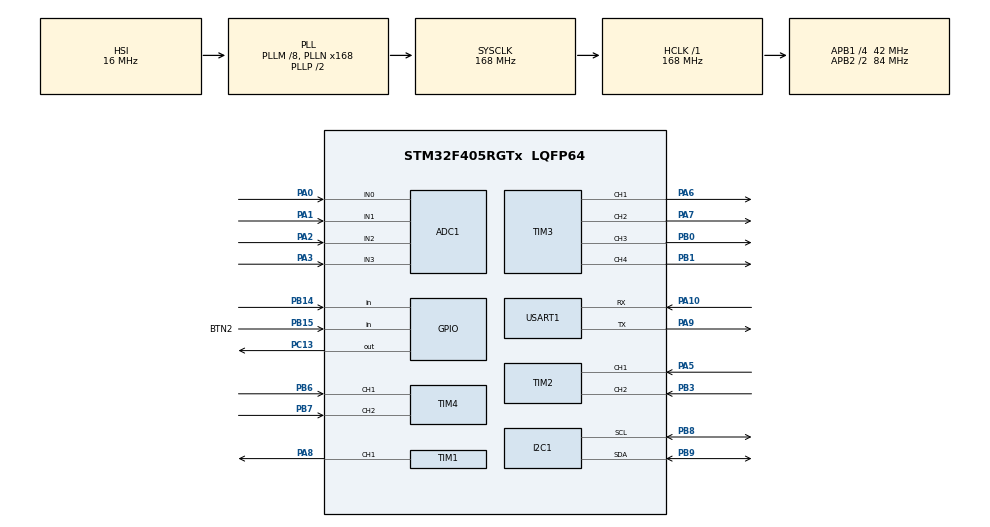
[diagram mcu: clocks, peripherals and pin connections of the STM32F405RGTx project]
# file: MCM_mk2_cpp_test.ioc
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ADC1.Channel-0\#ChannelRegularConversion=ADC_CHANNEL_0
ADC1.NbrOfConversionFlag=1
ADC1.Rank-0\#ChannelRegularConversion=1
ADC1.SamplingTime-0\#ChannelRegularConversion=ADC_SAMPLETIME_3CYCLES
ADC1.master=1
Dma.ADC1.0.Direction=DMA_PERIPH_TO_MEMORY
Dma.ADC1.0.FIFOMode=DMA_FIFOMODE_DISABLE
Dma.ADC1.0.Instance=DMA2_Stream0
Dma.ADC1.0.MemDataAlignment=DMA_MDATAALIGN_HALFWORD
Dma.ADC1.0.MemInc=DMA_MINC_ENABLE
Dma.ADC1.0.Mode=DMA_NORMAL
Dma.ADC1.0.PeriphDataAlignment=DMA_PDATAALIGN_HALFWORD
Dma.ADC1.0.PeriphInc=DMA_PINC_DISABLE
Dma.ADC1.0.Priority=DMA_PRIORITY_LOW
Dma.Request0=ADC1
Mcu.Family=STM32F4
Mcu.Name=STM32F405RGTx
Mcu.Package=LQFP64
NVIC.DMA2_Stream0_IRQn=true\:0\:0\:false\:false\:true\:false\:true\:true
NVIC.PriorityGroup=NVIC_PRIORITYGROUP_4
PA0-WKUP.Signal=ADCx_IN0
PA1.Signal=ADCx_IN1
PA10.Mode=Asynchronous
PA10.Signal=USART1_RX
PA13.Mode=Serial_Wire
PA13.Signal=SYS_JTMS-SWDIO
PA14.Mode=Serial_Wire
PA14.Signal=SYS_JTCK-SWCLK
PA2.Signal=ADCx_IN2
PA3.Signal=ADCx_IN3
PA5.Signal=S_TIM2_CH1_ETR
PA6.Signal=S_TIM3_CH1
PA7.Signal=S_TIM3_CH2
PA8.Signal=S_TIM1_CH1
PA9.Mode=Asynchronous
PA9.Signal=USART1_TX
PB0.Signal=S_TIM3_CH3
PB1.Signal=S_TIM3_CH4
PB14.Signal=GPIO_Input
PB15.GPIO_Label=BTN2
PB15.GPIO_PuPd=GPIO_PULLUP
PB15.Signal=GPIO_Input
PB3.Signal=S_TIM2_CH2
PB6.Signal=S_TIM4_CH1
PB7.Signal=S_TIM4_CH2
PB8.Mode=I2C
PB8.Signal=I2C1_SCL
PB9.Mode=I2C
PB9.Signal=I2C1_SDA
PC13-ANTI_TAMP.Signal=GPIO_Output
PH0-OSC_IN.Mode=HSE-External-Oscillator
PH0-OSC_IN.Signal=RCC_OSC_IN
PH1-OSC_OUT.Mode=HSE-External-Oscillator
PH1-OSC_OUT.Signal=RCC_OSC_OUT
ProjectManager.HeapSize=0x200
ProjectManager.StackSize=0x400
ProjectManager.TargetToolchain=STM32CubeIDE
RCC.48MHZClocksFreq_Value=84000000
RCC.AHBFreq_Value=168000000
RCC.APB1CLKDivider=RCC_HCLK_DIV4
RCC.APB1Freq_Value=42000000
RCC.APB1TimFreq_Value=84000000
RCC.APB2CLKDivider=RCC_HCLK_DIV2
RCC.APB2Freq_Value=84000000
RCC.APB2TimFreq_Value=168000000
RCC.CortexFreq_Value=168000000
RCC.HCLKFreq_Value=168000000
RCC.HSE_VALUE=25000000
RCC.HSI_VALUE=16000000
RCC.LSE_VALUE=32768
RCC.PLLM=8
RCC.PLLN=168
RCC.SYSCLKFreq_VALUE=168000000
RCC.SYSCLKSource=RCC_SYSCLKSOURCE_PLLCLK
RCC.VCOOutputFreq_Value=336000000
SH.ADCx_IN0.0=ADC1_IN0,IN0
SH.ADCx_IN1.0=ADC1_IN1,IN1
SH.ADCx_IN2.0=ADC1_IN2,IN2
SH.ADCx_IN3.0=ADC1_IN3,IN3
SH.S_TIM1_CH1.0=TIM1_CH1,PWM Generation1 CH1
SH.S_TIM2_CH1_ETR.0=TIM2_CH1,Encoder_Interface
SH.S_TIM2_CH2.0=TIM2_CH2,Encoder_Interface
SH.S_TIM3_CH1.0=TIM3_CH1,PWM Generation1 CH1
SH.S_TIM3_CH2.0=TIM3_CH2,PWM Generation2 CH2
SH.S_TIM3_CH3.0=TIM3_CH3,PWM Generation3 CH3
SH.S_TIM3_CH4.0=TIM3_CH4,PWM Generation4 CH4
SH.S_TIM4_CH1.0=TIM4_CH1,Encoder_Interface
SH.S_TIM4_CH2.0=TIM4_CH2,Encoder_Interface
TIM1.Channel-PWM\ Generation1\ CH1=TIM_CHANNEL_1
TIM1.Period=256-1
TIM1.Prescaler=169-1
TIM3.Channel-PWM\ Generation1\ CH1=TIM_CHANNEL_1
TIM3.Channel-PWM\ Generation2\ CH2=TIM_CHANNEL_2
TIM3.Channel-PWM\ Generation3\ CH3=TIM_CHANNEL_3
TIM3.Channel-PWM\ Generation4\ CH4=TIM_CHANNEL_4
USART1.VirtualMode=VM_ASYNC
board=custom

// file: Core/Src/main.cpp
/* USER CODE BEGIN Header */
/**
 ******************************************************************************
 * @file           : main.c
 * @brief          : Main program body
 ******************************************************************************
 * @attention
 *
 * Copyright (c) 2025 STMicroelectronics.
 * All rights reserved.
 *
 * This software is licensed under terms that can be found in the LICENSE file
 * in the root directory of this software component.
 * If no LICENSE file comes with this software, it is provided AS-IS.
 *
 ******************************************************************************
 */
/* USER CODE END Header */

/* USER CODE BEGIN Includes */
extern "C" {
    #include "main.h"
    #include "stm32f4xx_hal.h"
    #include "MPU9250-DMP.h"
}
#include "MOTORDRiVE.h"
#include <cstring>
#include <cstdio>
//#include "math.h"

/* USER CODE END Includes */

/* USER CODE BEGIN PD */
extern TIM_HandleTypeDef htim1;
extern TIM_HandleTypeDef htim2;
extern TIM_HandleTypeDef htim3;
extern TIM_HandleTypeDef htim4;

/* USER CODE END PD */

ADC_HandleTypeDef hadc1;
DMA_HandleTypeDef hdma_adc1;

I2C_HandleTypeDef hi2c1;

TIM_HandleTypeDef htim1;
TIM_HandleTypeDef htim2;
TIM_HandleTypeDef htim3;
TIM_HandleTypeDef htim4;

UART_HandleTypeDef huart1;

/* USER CODE BEGIN PV */
IRSensors IR1(&hadc1,ADC_CHANNEL_1);
IRSensors IR2(&hadc1,ADC_CHANNEL_2 );
IRSensors IR3(&hadc1,ADC_CHANNEL_3);
IRSensors IR4(&hadc1,ADC_CHANNEL_4);

uint32_t dutyCycle = 0;

enum BotState {
    FOLLOW_WALL,
    TURN_LEFT,
    FOLLOW_WALL_AGAIN,
    TURN_RIGHT,
    FINISHED
};

/* USER CODE END PV */

void SystemClock_Config(void);
static void MX_GPIO_Init(void);
static void MX_DMA_Init(void);
static void MX_TIM1_Init(void);
static void MX_I2C1_Init(void);
static void MX_TIM3_Init(void);
static void MX_ADC1_Init(void);
static void MX_TIM2_Init(void);
static void MX_TIM4_Init(void);
static void MX_USART1_UART_Init(void);

/* USER CODE BEGIN 0 */

float roll;
float pitch;
float yaw;

/* USER CODE END 0 */

int main(void)
{

  /* MCU Configuration--------------------------------------------------------*/

  /* Reset of all peripherals, Initializes the Flash interface and the Systick. */
  HAL_Init();

  /* Configure the system clock */
  SystemClock_Config();

  /* Initialize all configured peripherals */
  MX_GPIO_Init();
  MX_DMA_Init();
  MX_TIM1_Init();
  MX_I2C1_Init();
  MX_TIM3_Init();
  MX_ADC1_Init();
  MX_TIM2_Init();
  MX_TIM4_Init();
  MX_USART1_UART_Init();

  // Init motors
      MOTOR leftMotor( &htim3, &htim3, CH1, CH2);
      MOTOR rightMotor( &htim3, &htim3, CH3, CH4);
      leftMotor.Innit();
      rightMotor.Innit();

      // PID controllers
          PIDController leftPID(1.0f, 0.5f, 0.1f, 0.01f, 0.02f);
          PIDController rightPID(1.0f, 0.5f, 0.1f, 0.01f, 0.02f);

          // Movements
          Movements movement(&leftMotor, &rightMotor);

          // Encoder
          Encoder encoder(
              &htim2, TIM_CHANNEL_1, // Left A
              &htim2, TIM_CHANNEL_2, // Left B
              &htim4, TIM_CHANNEL_1, // Right A
              &htim4, TIM_CHANNEL_2  // Right B
          );
          encoder.Innit();
          encoder.setPulse(500); // Set pulse-per-rev

          BotState state = FOLLOW_WALL;
  /* USER CODE BEGIN 2 */

	MX_I2C1_Init();
	MPU9250_DMP(); // Initialize scale constants
	  if (MPU9250_begin() != INV_SUCCESS)
	     {
	         printf("MPU init failed!\n");
	         while (1);
	     }

	     // Set orientation matrix for DMP (identity matrix here, customize if needed)
	     const signed char orientationMatrix[9] = {
	         1, 0, 0,
	         0, 1, 0,
	         0, 0, 1
	     };
	     MPU9250_dmpSetOrientation(orientationMatrix);

	     // Enable DMP features
	     MPU9250_dmpBegin(DMP_FEATURE_6X_LP_QUAT | DMP_FEATURE_GYRO_CAL, 10); // 10 Hz update

  /* USER CODE END 2 */

  /* Infinite loop */
	while (1) {

    /* USER CODE BEGIN 3 */

		if (MPU9250_dmpUpdateFifo() == INV_SUCCESS)
			          {
			              MPU9250_computeEulerAngles(true); // Calculate angles in degrees

			              roll = roll_inside;
			              pitch = pitch_inside;
			              yaw = yaw_inside;
			          }
		HAL_Delay(100); // 10 Hz
		uint8_t ir_val = All_IR_Val(&IR1, &IR2, &IR3, &IR4);
		int32_t leftSpeed = encoder.readLeftEncoderSpeed();
		int32_t rightSpeed = encoder.readRightEncoderSpeed();

		        switch (state)
		        {
		            case FOLLOW_WALL:
		                if (ir_val == 0b1111) {
		                    movement.stop();
		                    HAL_Delay(500);
		                    state = TURN_LEFT;
		                } else {
		                    MCM_Wall_Following_In_A_StraightLine(ir_val, &movement, &leftPID, &rightPID, 300, leftSpeed, rightSpeed);
		                }
		                break;

		            case TURN_LEFT:
		                if (movement.rotateLeft90Deg(&leftPID, &rightPID, 300, leftSpeed, rightSpeed)) {
		                    state = FOLLOW_WALL_AGAIN;
		                }
		                break;

		            case FOLLOW_WALL_AGAIN:
		                if (ir_val == 0b1111) {
		                    movement.stop();
		                    HAL_Delay(500);
		                    state = TURN_RIGHT;
		                } else {
		                    MCM_Wall_Following_In_A_StraightLine(ir_val, &movement, &leftPID, &rightPID, 300, leftSpeed, rightSpeed);
		                }
		                break;

		            case TURN_RIGHT:
		                if (movement.rotateRight90Deg(&leftPID, &rightPID, 300, leftSpeed, rightSpeed)) {
		                    state = FINISHED;
		                }
		                break;

		            case FINISHED:
		                movement.stop();
		                while (1); // stay stopped
		        }

		        HAL_Delay(10);
		        send_data_uart(leftSpeed, rightSpeed, ir_val,yaw);
	}
}
  /* USER CODE END 3 */

void SystemClock_Config(void)
{
  RCC_OscInitTypeDef RCC_OscInitStruct = {0};
  RCC_ClkInitTypeDef RCC_ClkInitStruct = {0};

  /** Configure the main internal regulator output voltage
  */
  __HAL_RCC_PWR_CLK_ENABLE();
  __HAL_PWR_VOLTAGESCALING_CONFIG(PWR_REGULATOR_VOLTAGE_SCALE1);

  /** Initializes the RCC Oscillators according to the specified parameters
  * in the RCC_OscInitTypeDef structure.
  */
  RCC_OscInitStruct.OscillatorType = RCC_OSCILLATORTYPE_HSI;
  RCC_OscInitStruct.HSIState = RCC_HSI_ON;
  RCC_OscInitStruct.HSICalibrationValue = RCC_HSICALIBRATION_DEFAULT;
  RCC_OscInitStruct.PLL.PLLState = RCC_PLL_ON;
  RCC_OscInitStruct.PLL.PLLSource = RCC_PLLSOURCE_HSI;
  RCC_OscInitStruct.PLL.PLLM = 8;
  RCC_OscInitStruct.PLL.PLLN = 168;
  RCC_OscInitStruct.PLL.PLLP = RCC_PLLP_DIV2;
  RCC_OscInitStruct.PLL.PLLQ = 4;
  if (HAL_RCC_OscConfig(&RCC_OscInitStruct) != HAL_OK)
  {
    Error_Handler();
  }

  /** Initializes the CPU, AHB and APB buses clocks
  */
  RCC_ClkInitStruct.ClockType = RCC_CLOCKTYPE_HCLK|RCC_CLOCKTYPE_SYSCLK
                              |RCC_CLOCKTYPE_PCLK1|RCC_CLOCKTYPE_PCLK2;
  RCC_ClkInitStruct.SYSCLKSource = RCC_SYSCLKSOURCE_PLLCLK;
  RCC_ClkInitStruct.AHBCLKDivider = RCC_SYSCLK_DIV1;
  RCC_ClkInitStruct.APB1CLKDivider = RCC_HCLK_DIV4;
  RCC_ClkInitStruct.APB2CLKDivider = RCC_HCLK_DIV2;

  if (HAL_RCC_ClockConfig(&RCC_ClkInitStruct, FLASH_LATENCY_5) != HAL_OK)
  {
    Error_Handler();
  }
}

static void MX_ADC1_Init(void)
{

  ADC_ChannelConfTypeDef sConfig = {0};

  /** Configure the global features of the ADC (Clock, Resolution, Data Alignment and number of conversion)
  */
  hadc1.Instance = ADC1;
  hadc1.Init.ClockPrescaler = ADC_CLOCK_SYNC_PCLK_DIV4;
  hadc1.Init.Resolution = ADC_RESOLUTION_12B;
  hadc1.Init.ScanConvMode = DISABLE;
  hadc1.Init.ContinuousConvMode = DISABLE;
  hadc1.Init.DiscontinuousConvMode = DISABLE;
  hadc1.Init.ExternalTrigConvEdge = ADC_EXTERNALTRIGCONVEDGE_NONE;
  hadc1.Init.ExternalTrigConv = ADC_SOFTWARE_START;
  hadc1.Init.DataAlign = ADC_DATAALIGN_RIGHT;
  hadc1.Init.NbrOfConversion = 1;
  hadc1.Init.DMAContinuousRequests = DISABLE;
  hadc1.Init.EOCSelection = ADC_EOC_SINGLE_CONV;
  if (HAL_ADC_Init(&hadc1) != HAL_OK)
  {
    Error_Handler();
  }

  /** Configure for the selected ADC regular channel its corresponding rank in the sequencer and its sample time.
  */
  sConfig.Channel = ADC_CHANNEL_0;
  sConfig.Rank = 1;
  sConfig.SamplingTime = ADC_SAMPLETIME_3CYCLES;
  if (HAL_ADC_ConfigChannel(&hadc1, &sConfig) != HAL_OK)
  {
    Error_Handler();
  }

}

static void MX_I2C1_Init(void)
{

  hi2c1.Instance = I2C1;
  hi2c1.Init.ClockSpeed = 100000;
  hi2c1.Init.DutyCycle = I2C_DUTYCYCLE_2;
  hi2c1.Init.OwnAddress1 = 0;
  hi2c1.Init.AddressingMode = I2C_ADDRESSINGMODE_7BIT;
  hi2c1.Init.DualAddressMode = I2C_DUALADDRESS_DISABLE;
  hi2c1.Init.OwnAddress2 = 0;
  hi2c1.Init.GeneralCallMode = I2C_GENERALCALL_DISABLE;
  hi2c1.Init.NoStretchMode = I2C_NOSTRETCH_DISABLE;
  if (HAL_I2C_Init(&hi2c1) != HAL_OK)
  {
    Error_Handler();
  }

}

static void MX_TIM1_Init(void)
{

  TIM_MasterConfigTypeDef sMasterConfig = {0};
  TIM_OC_InitTypeDef sConfigOC = {0};
  TIM_BreakDeadTimeConfigTypeDef sBreakDeadTimeConfig = {0};

  htim1.Instance = TIM1;
  htim1.Init.Prescaler = 169-1;
  htim1.Init.CounterMode = TIM_COUNTERMODE_UP;
  htim1.Init.Period = 256-1;
  htim1.Init.ClockDivision = TIM_CLOCKDIVISION_DIV1;
  htim1.Init.RepetitionCounter = 0;
  htim1.Init.AutoReloadPreload = TIM_AUTORELOAD_PRELOAD_DISABLE;
  if (HAL_TIM_PWM_Init(&htim1) != HAL_OK)
  {
    Error_Handler();
  }
  sMasterConfig.MasterOutputTrigger = TIM_TRGO_RESET;
  sMasterConfig.MasterSlaveMode = TIM_MASTERSLAVEMODE_DISABLE;
  if (HAL_TIMEx_MasterConfigSynchronization(&htim1, &sMasterConfig) != HAL_OK)
  {
    Error_Handler();
  }
  sConfigOC.OCMode = TIM_OCMODE_PWM1;
  sConfigOC.Pulse = 0;
  sConfigOC.OCPolarity = TIM_OCPOLARITY_HIGH;
  sConfigOC.OCNPolarity = TIM_OCNPOLARITY_HIGH;
  sConfigOC.OCFastMode = TIM_OCFAST_DISABLE;
  sConfigOC.OCIdleState = TIM_OCIDLESTATE_RESET;
  sConfigOC.OCNIdleState = TIM_OCNIDLESTATE_RESET;
  if (HAL_TIM_PWM_ConfigChannel(&htim1, &sConfigOC, TIM_CHANNEL_1) != HAL_OK)
  {
    Error_Handler();
  }
  sBreakDeadTimeConfig.OffStateRunMode = TIM_OSSR_DISABLE;
  sBreakDeadTimeConfig.OffStateIDLEMode = TIM_OSSI_DISABLE;
  sBreakDeadTimeConfig.LockLevel = TIM_LOCKLEVEL_OFF;
  sBreakDeadTimeConfig.DeadTime = 0;
  sBreakDeadTimeConfig.BreakState = TIM_BREAK_DISABLE;
  sBreakDeadTimeConfig.BreakPolarity = TIM_BREAKPOLARITY_HIGH;
  sBreakDeadTimeConfig.AutomaticOutput = TIM_AUTOMATICOUTPUT_DISABLE;
  if (HAL_TIMEx_ConfigBreakDeadTime(&htim1, &sBreakDeadTimeConfig) != HAL_OK)
  {
    Error_Handler();
  }
  HAL_TIM_MspPostInit(&htim1);

}

static void MX_TIM2_Init(void)
{

  TIM_Encoder_InitTypeDef sConfig = {0};
  TIM_MasterConfigTypeDef sMasterConfig = {0};

  htim2.Instance = TIM2;
  htim2.Init.Prescaler = 0;
  htim2.Init.CounterMode = TIM_COUNTERMODE_UP;
  htim2.Init.Period = 4294967295;
  htim2.Init.ClockDivision = TIM_CLOCKDIVISION_DIV1;
  htim2.Init.AutoReloadPreload = TIM_AUTORELOAD_PRELOAD_DISABLE;
  sConfig.EncoderMode = TIM_ENCODERMODE_TI1;
  sConfig.IC1Polarity = TIM_ICPOLARITY_RISING;
  sConfig.IC1Selection = TIM_ICSELECTION_DIRECTTI;
  sConfig.IC1Prescaler = TIM_ICPSC_DIV1;
  sConfig.IC1Filter = 0;
  sConfig.IC2Polarity = TIM_ICPOLARITY_RISING;
  sConfig.IC2Selection = TIM_ICSELECTION_DIRECTTI;
  sConfig.IC2Prescaler = TIM_ICPSC_DIV1;
  sConfig.IC2Filter = 0;
  if (HAL_TIM_Encoder_Init(&htim2, &sConfig) != HAL_OK)
  {
    Error_Handler();
  }
  sMasterConfig.MasterOutputTrigger = TIM_TRGO_RESET;
  sMasterConfig.MasterSlaveMode = TIM_MASTERSLAVEMODE_DISABLE;
  if (HAL_TIMEx_MasterConfigSynchronization(&htim2, &sMasterConfig) != HAL_OK)
  {
    Error_Handler();
  }

}

static void MX_TIM3_Init(void)
{

  TIM_MasterConfigTypeDef sMasterConfig = {0};
  TIM_OC_InitTypeDef sConfigOC = {0};

  htim3.Instance = TIM3;
  htim3.Init.Prescaler = 0;
  htim3.Init.CounterMode = TIM_COUNTERMODE_UP;
  htim3.Init.Period = 65535;
  htim3.Init.ClockDivision = TIM_CLOCKDIVISION_DIV1;
  htim3.Init.AutoReloadPreload = TIM_AUTORELOAD_PRELOAD_DISABLE;
  if (HAL_TIM_PWM_Init(&htim3) != HAL_OK)
  {
    Error_Handler();
  }
  sMasterConfig.MasterOutputTrigger = TIM_TRGO_RESET;
  sMasterConfig.MasterSlaveMode = TIM_MASTERSLAVEMODE_DISABLE;
  if (HAL_TIMEx_MasterConfigSynchronization(&htim3, &sMasterConfig) != HAL_OK)
  {
    Error_Handler();
  }
  sConfigOC.OCMode = TIM_OCMODE_PWM1;
  sConfigOC.Pulse = 0;
  sConfigOC.OCPolarity = TIM_OCPOLARITY_HIGH;
  sConfigOC.OCFastMode = TIM_OCFAST_DISABLE;
  if (HAL_TIM_PWM_ConfigChannel(&htim3, &sConfigOC, TIM_CHANNEL_1) != HAL_OK)
  {
    Error_Handler();
  }
  if (HAL_TIM_PWM_ConfigChannel(&htim3, &sConfigOC, TIM_CHANNEL_2) != HAL_OK)
  {
    Error_Handler();
  }
  if (HAL_TIM_PWM_ConfigChannel(&htim3, &sConfigOC, TIM_CHANNEL_3) != HAL_OK)
  {
    Error_Handler();
  }
  if (HAL_TIM_PWM_ConfigChannel(&htim3, &sConfigOC, TIM_CHANNEL_4) != HAL_OK)
  {
    Error_Handler();
  }
  HAL_TIM_MspPostInit(&htim3);

}

static void MX_TIM4_Init(void)
{

  TIM_Encoder_InitTypeDef sConfig = {0};
  TIM_MasterConfigTypeDef sMasterConfig = {0};

  htim4.Instance = TIM4;
  htim4.Init.Prescaler = 0;
  htim4.Init.CounterMode = TIM_COUNTERMODE_UP;
  htim4.Init.Period = 65535;
  htim4.Init.ClockDivision = TIM_CLOCKDIVISION_DIV1;
  htim4.Init.AutoReloadPreload = TIM_AUTORELOAD_PRELOAD_DISABLE;
  sConfig.EncoderMode = TIM_ENCODERMODE_TI1;
  sConfig.IC1Polarity = TIM_ICPOLARITY_RISING;
  sConfig.IC1Selection = TIM_ICSELECTION_DIRECTTI;
  sConfig.IC1Prescaler = TIM_ICPSC_DIV1;
  sConfig.IC1Filter = 0;
  sConfig.IC2Polarity = TIM_ICPOLARITY_RISING;
  sConfig.IC2Selection = TIM_ICSELECTION_DIRECTTI;
  sConfig.IC2Prescaler = TIM_ICPSC_DIV1;
  sConfig.IC2Filter = 0;
  if (HAL_TIM_Encoder_Init(&htim4, &sConfig) != HAL_OK)
  {
    Error_Handler();
  }
  sMasterConfig.MasterOutputTrigger = TIM_TRGO_RESET;
  sMasterConfig.MasterSlaveMode = TIM_MASTERSLAVEMODE_DISABLE;
  if (HAL_TIMEx_MasterConfigSynchronization(&htim4, &sMasterConfig) != HAL_OK)
  {
    Error_Handler();
  }

}

static void MX_USART1_UART_Init(void)
{

  huart1.Instance = USART1;
  huart1.Init.BaudRate = 115200;
  huart1.Init.WordLength = UART_WORDLENGTH_8B;
  huart1.Init.StopBits = UART_STOPBITS_1;
  huart1.Init.Parity = UART_PARITY_NONE;
  huart1.Init.Mode = UART_MODE_TX_RX;
  huart1.Init.HwFlowCtl = UART_HWCONTROL_NONE;
  huart1.Init.OverSampling = UART_OVERSAMPLING_16;
  if (HAL_UART_Init(&huart1) != HAL_OK)
  {
    Error_Handler();
  }

}

static void MX_DMA_Init(void)
{

  /* DMA controller clock enable */
  __HAL_RCC_DMA2_CLK_ENABLE();

  /* DMA interrupt init */
  /* DMA2_Stream0_IRQn interrupt configuration */
  HAL_NVIC_SetPriority(DMA2_Stream0_IRQn, 0, 0);
  HAL_NVIC_EnableIRQ(DMA2_Stream0_IRQn);

}

static void MX_GPIO_Init(void)
{
  GPIO_InitTypeDef GPIO_InitStruct = {0};

  /* GPIO Ports Clock Enable */
  __HAL_RCC_GPIOC_CLK_ENABLE();
  __HAL_RCC_GPIOH_CLK_ENABLE();
  __HAL_RCC_GPIOA_CLK_ENABLE();
  __HAL_RCC_GPIOB_CLK_ENABLE();

  /*Configure GPIO pin Output Level */
  HAL_GPIO_WritePin(GPIOC, GPIO_PIN_13, GPIO_PIN_RESET);

  /*Configure GPIO pin : PC13 */
  GPIO_InitStruct.Pin = GPIO_PIN_13;
  GPIO_InitStruct.Mode = GPIO_MODE_OUTPUT_PP;
  GPIO_InitStruct.Pull = GPIO_NOPULL;
  GPIO_InitStruct.Speed = GPIO_SPEED_FREQ_LOW;
  HAL_GPIO_Init(GPIOC, &GPIO_InitStruct);

  /*Configure GPIO pin : PB14 */
  GPIO_InitStruct.Pin = GPIO_PIN_14;
  GPIO_InitStruct.Mode = GPIO_MODE_INPUT;
  GPIO_InitStruct.Pull = GPIO_NOPULL;
  HAL_GPIO_Init(GPIOB, &GPIO_InitStruct);

  /*Configure GPIO pin : BTN2_Pin */
  GPIO_InitStruct.Pin = BTN2_Pin;
  GPIO_InitStruct.Mode = GPIO_MODE_INPUT;
  GPIO_InitStruct.Pull = GPIO_PULLUP;
  HAL_GPIO_Init(BTN2_GPIO_Port, &GPIO_InitStruct);

}

/* USER CODE BEGIN 4 */

	/* USER CODE BEGIN I2C1_Init 2 */

	/* USER CODE END I2C1_Init 2 */

/* USER CODE END 4 */

void Error_Handler(void)
{
	__disable_irq();
	while (1) {
	}
}
